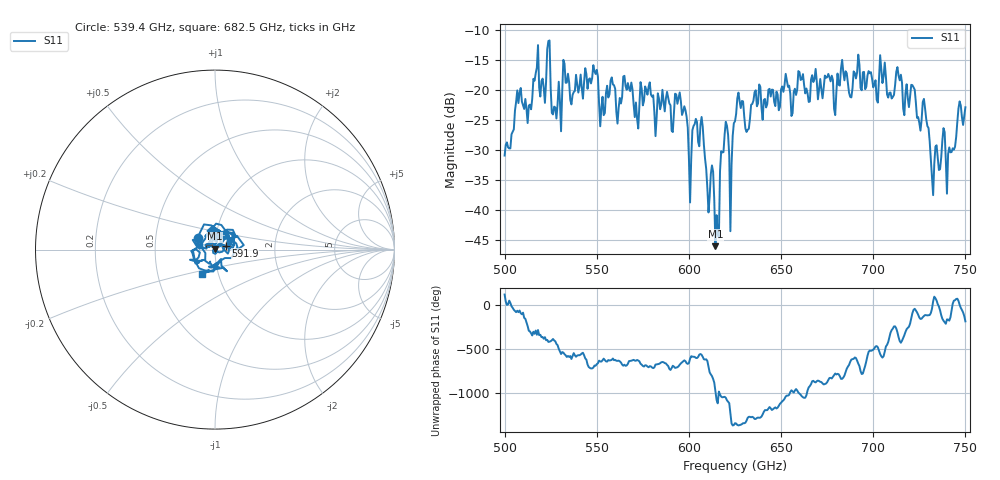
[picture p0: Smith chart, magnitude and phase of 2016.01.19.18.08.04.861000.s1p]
!Created with skrf (http://scikit-rf.org).
# GHz S RI R 50.0
!freq ReS11 ImS11
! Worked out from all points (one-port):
!   401 points, 500 GHz to 750 GHz, reference 50 ohm
!   lowest |S11| = -46.0 dB at 614.4 GHz (marker M1), VSWR 1.01, Z = 49.9 + j0.495 ohm
!   |S11| at or under -10 dB: start of sweep to end of sweep
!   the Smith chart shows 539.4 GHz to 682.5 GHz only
!   S11 on the Smith chart (normalised r, x): 539.4 GHz: 0.82, +0.11; 591.9 GHz: 1.13, +0.05; 682.5 GHz: 0.84, -0.23
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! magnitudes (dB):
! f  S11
! 500 GHz  -30.9
! 516.9 GHz  -17.2
! 520.6 GHz  -18.0
! 523.8 GHz  -11.8
! 526.9 GHz  -22.7
! 531.2 GHz  -20.3
! 539.4 GHz  -19.0
! 562.5 GHz  -21.3
! 565.6 GHz  -19.3
! 571.2 GHz  -22.0
! 577.5 GHz  -20.7
! 591.9 GHz  -23.9
! 593.8 GHz  -22.2
! 600.6 GHz  -38.7
! 607.5 GHz  -26.1
! 614.4 GHz  -46.0
! 615.6 GHz  -44.0
! 618.8 GHz  -30.3
! 623.1 GHz  -32.4
! 625 GHz  -25.2
! 656.2 GHz  -23.8
! 682.5 GHz  -16.4
! 687.5 GHz  -21.1
! 705 GHz  -18.8
! 718.8 GHz  -21.3
! 728.1 GHz  -23.0
! 732.5 GHz  -37.5
! 750 GHz  -22.8
